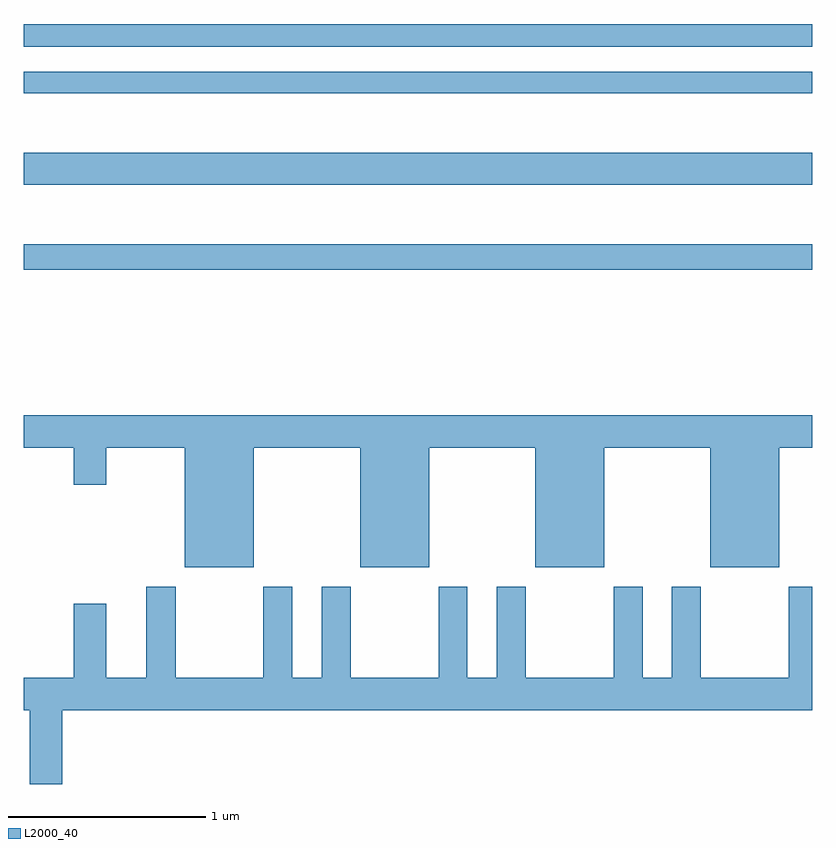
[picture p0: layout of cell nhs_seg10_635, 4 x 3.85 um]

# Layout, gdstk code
import gdstk
lib = gdstk.Library(unit=1e-6, precision=1e-09)
def R(c, l, rs):  # rectangles x0, y0, x1, y1
    for r in rs: c.add(gdstk.rectangle(r[:2], r[2:], *l))
def P(c, l, *ps):  # polygons
    for p in ps: c.add(gdstk.Polygon(p, *l))
L2000_40 = (2000, 40)

nhs_seg10_635 = lib.new_cell('nhs_seg10_635')
R(nhs_seg10_635, L2000_40, [(141,1329.19,145,1329.319), (141,1329.62,145,1329.784), (141,1330.086,145,1330.194), (141,1330.32,145,1330.436)])
P(nhs_seg10_635, L2000_40, [(142.168,1328.288),(142.706,1328.288),(142.706,1327.682),(143.056,1327.682),(143.056,1328.288),(143.594,1328.288),(143.594,1327.682),(143.944,1327.682),(143.944,1328.288),(144.482,1328.288),(144.482,1327.682),(144.832,1327.682),(144.832,1328.288),(145,1328.288),(145,1328.452),(141,1328.452),(141,1328.288),(141.254,1328.288),(141.254,1328.1),(141.418,1328.1),(141.418,1328.288),(141.818,1328.288),(141.818,1327.682),(142.168,1327.682)],
  [(141.196,1326.956),(145,1326.956),(145,1327.582),(144.88,1327.582),(144.88,1327.12),(144.435,1327.12),(144.435,1327.582),(144.287,1327.582),(144.287,1327.12),(144.139,1327.12),(144.139,1327.582),(143.992,1327.582),(143.992,1327.12),(143.547,1327.12),(143.547,1327.582),(143.399,1327.582),(143.399,1327.12),(143.251,1327.12),(143.251,1327.582),(143.104,1327.582),(143.104,1327.12),(142.659,1327.12),(142.659,1327.582),(142.511,1327.582),(142.511,1327.12),(142.363,1327.12),(142.363,1327.582),(142.216,1327.582),(142.216,1327.12),(141.771,1327.12),(141.771,1327.582),(141.623,1327.582),(141.623,1327.12),(141.418,1327.12),(141.418,1327.495),(141.254,1327.495),(141.254,1327.12),(141,1327.12),(141,1326.956),(141.032,1326.956),(141.032,1326.582),(141.196,1326.582)])

lib.write_gds('nhs_seg10_635.gds')
